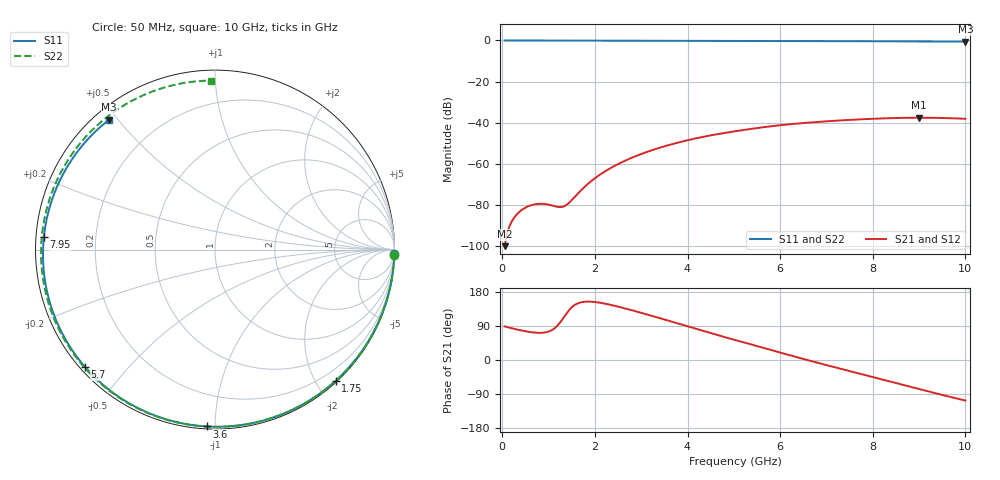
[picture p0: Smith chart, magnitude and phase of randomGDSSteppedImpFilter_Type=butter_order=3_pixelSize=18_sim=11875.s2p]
! freq	dB(S11)	phase(S11)	dB(S12)	phase(S12)
!  dB(S21)	phase(S21)	dB(S22)	phase(S22)
!S-par simulation data
#  GHz  S  DB  R 50
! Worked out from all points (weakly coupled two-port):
!   200 points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, 50 MHz to 10 GHz, reference 50 ohm
!   highest |S21| = -37.61 dB at 9 GHz (marker M1); lowest = -100.1 dB at 50 MHz (marker M2)
!   lowest |S11| = -0.6 dB at 10 GHz (marker M3), VSWR 29.17, Z = 2.1 + j23.7 ohm
!   |S11| at or under -10 dB: nowhere
!   |S22| runs from -0.5 to 0.0 dB; largest |S21 - S12| = 0
!   S11 on the Smith chart (normalised r, x): 50 MHz: 0, -82; 1.75 GHz: 0.02, -2.28; 3.6 GHz: 0.01, -0.96; 5.7 GHz: 0.01, -0.38; 7.95 GHz: 0.02, +0.04; 10 GHz: 0.04, +0.47
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0.05  -0.00 -1.4  -100.13 88.5  -100.13 88.5  -0.00 -1.8
0.35  -0.01 -9.7  -83.82 79.6  -83.82 79.6  -0.02 -12.4
0.7  -0.02 -19.3  -79.78 72.2  -79.78 72.2  -0.03 -24.6
1.05  -0.04 -28.8  -80.18 77.5  -80.18 77.5  -0.05 -36.6
1.4  -0.05 -38.2  -79.83 125.4  -79.83 125.4  -0.06 -48.4
1.75  -0.06 -47.4  -71.85 153.2  -71.85 153.2  -0.07 -59.8
2.05  -0.07 -55.1  -66.24 152.2  -66.24 152.2  -0.08 -69.2
2.45  -0.08 -65.2  -60.74 142.4  -60.74 142.4  -0.10 -81.4
2.9  -0.09 -76.2  -56.15 127.9  -56.15 127.9  -0.11 -94.5
3.4  -0.11 -88.0  -52.21 110.5  -52.21 110.5  -0.13 -108.4
3.6  -0.12 -92.6  -50.89 103.3  -50.89 103.3  -0.14 -113.7
4.35  -0.15 -109.4  -46.86 76.3  -46.86 76.3  -0.17 -132.9
5.05  -0.18 -124.4  -44.13 52.0  -44.13 52.0  -0.20 -149.9
5.7  -0.22 -137.9  -42.05 30.0  -42.05 30.0  -0.23 -165.1
6.2  -0.25 -148.2  -40.80 12.8  -40.80 12.8  -0.26 -176.7
6.7  -0.28 -158.3  -39.84 -3.8  -39.84 -3.8  -0.30 171.8
7.3  -0.33 -170.6  -38.93 -22.9  -38.93 -22.9  -0.34 158.0
7.95  -0.39 175.9  -38.17 -43.3  -38.17 -43.3  -0.38 142.7
8.35  -0.43 167.4  -37.84 -56.0  -37.84 -56.0  -0.41 133.1
9  -0.49 153.0  -37.61 -76.7  -37.61 -76.7  -0.45 117.0
9.5  -0.54 141.4  -37.74 -92.2  -37.74 -92.2  -0.49 104.3
10  -0.60 129.2  -38.14 -107.0  -38.14 -107.0  -0.52 91.3
